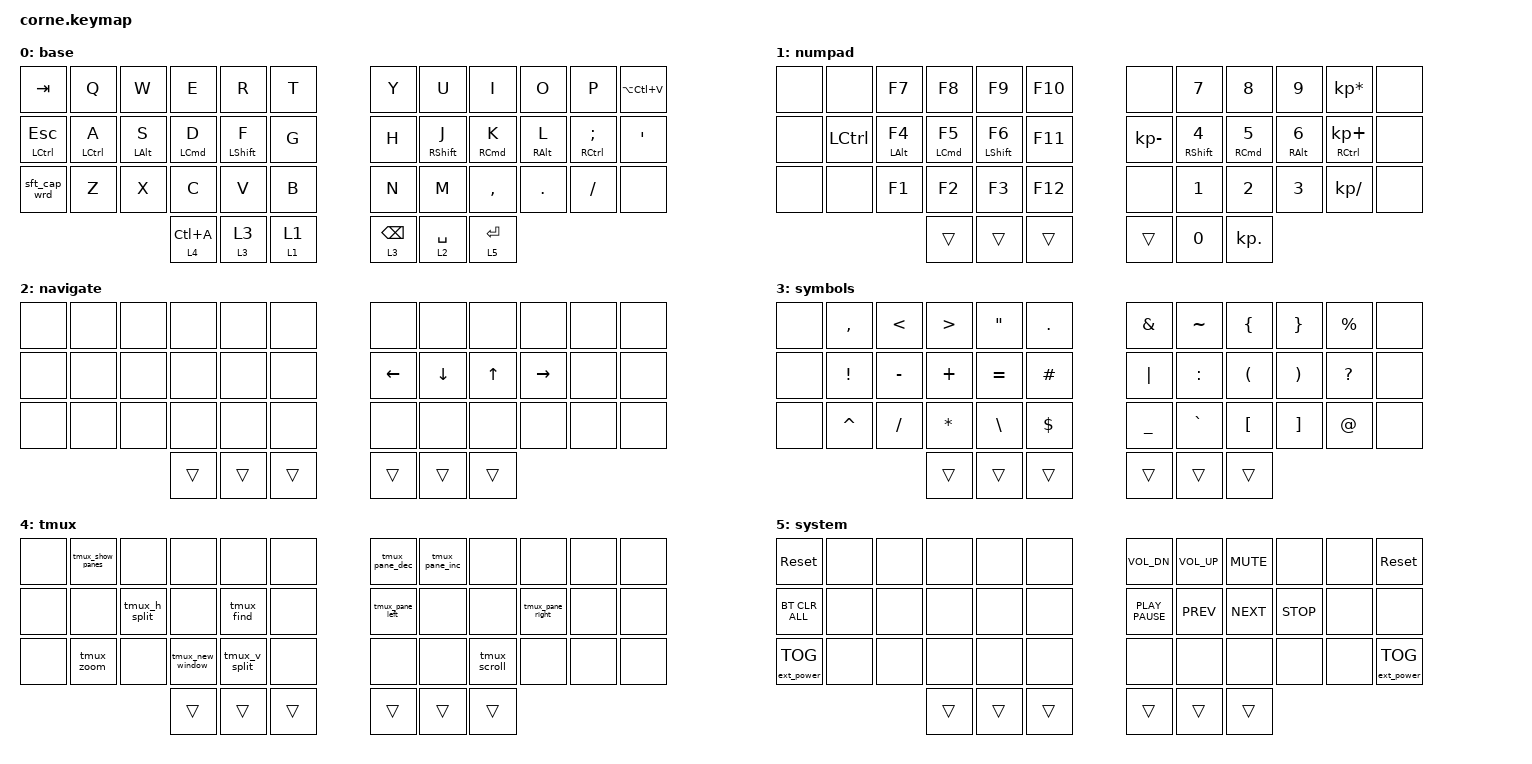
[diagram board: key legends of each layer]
#include <behaviors.dtsi>
#include <dt-bindings/zmk/bt.h>
#include <dt-bindings/zmk/ext_power.h>
#include <dt-bindings/zmk/keys.h>

&sk { /delete-property/ ignore-modifiers; };

&sl { release-after-ms = <200>; };

&caps_word { continue-list = <UNDERSCORE MINUS BACKSPACE DELETE>; };

/ {
    combos {
        compatible = "zmk,combos";

        caps_word {
            key-positions = <17 18>;
            bindings = <&caps_word>;
        };

        homerow {
            bindings = <&kp LS(LG(SPACE))>;
            key-positions = <38 39>;
        };

        warpd {
            bindings = <&kp LS(LA(LG(X)))>;
            key-positions = <37 40>;
        };

        wispr {
            bindings = <&wispr_record>;
            key-positions = <36 41>;
        };
    };

    macros {
        tmux_show_panes: TMUX_SHOW_PANES {
            compatible = "zmk,behavior-macro";
            #binding-cells = <0>;
            bindings = <&tmux_leader &kp Q>;
            label = "TMUX_SHOW_PANES";
        };

        tmux_h_split: TMUX_H_SPLIT {
            compatible = "zmk,behavior-macro";
            #binding-cells = <0>;
            bindings = <&tmux_leader &kp S>;
            label = "TMUX_H_SPLIT";
        };

        tmux_v_split: TMUX_V_SPLIT {
            compatible = "zmk,behavior-macro";
            #binding-cells = <0>;
            bindings = <&tmux_leader &kp V>;
            label = "TMUX_V_SPLIT";
        };

        tmux_new_window: tmux_new_window {
            compatible = "zmk,behavior-macro";
            #binding-cells = <0>;
            bindings = <&tmux_leader &kp C>;
            label = "TMUX_NEW_WINDOW";
        };

        tmux_leader: tmux_leader {
            compatible = "zmk,behavior-macro";
            #binding-cells = <0>;
            bindings = <&kp LC(A)>;
            label = "TMUX_LEADER";
        };

        tmux_zoom: tmux_zoom {
            compatible = "zmk,behavior-macro";
            #binding-cells = <0>;
            bindings = <&tmux_leader &kp Z>;
            label = "TMUX_ZOOM";
        };

        tmux_find: tmux_find {
            compatible = "zmk,behavior-macro";
            #binding-cells = <0>;
            bindings = <&tmux_leader &kp LS(F)>;
            label = "TMUX_FIND";
        };

        tmux_pane_dec: tmux_pane_dec {
            compatible = "zmk,behavior-macro";
            #binding-cells = <0>;
            bindings = <&tmux_leader &kp MINUS>;
            label = "TMUX_PANE_DEC";
        };

        tmux_pane_inc: tmux_pane_inc {
            compatible = "zmk,behavior-macro";
            #binding-cells = <0>;
            bindings = <&tmux_leader &kp EQUAL>;
            label = "TMUX_PANE_INC";
        };

        tmux_pane_left: tmux_pane_left {
            compatible = "zmk,behavior-macro";
            #binding-cells = <0>;
            bindings = <&tmux_leader &kp LC(H)>;
            label = "TMUX_PANE_LEFT";
        };

        tmux_pane_right: tmux_pane_right {
            compatible = "zmk,behavior-macro";
            #binding-cells = <0>;
            bindings = <&tmux_leader &kp LC(L)>;
            label = "TMUX_PANE_RIGHT";
        };

        tmux_scroll: tmux_scroll {
            compatible = "zmk,behavior-macro";
            #binding-cells = <0>;
            bindings = <&tmux_leader &kp LEFT_BRACKET>;
            label = "TMUX_SCROLL";
        };

        wispr_record: wispr_record {
            compatible = "zmk,behavior-macro";
            #binding-cells = <0>;
            bindings = <&kp LC(LA(V))>;
            label = "WISPR_RECORD";
        };

        wispr_record_toggle: wispr_record_toggle {
            compatible = "zmk,behavior-macro";
            #binding-cells = <0>;
            bindings = <&wispr_record &wispr_record>;
            label = "WISPR_RECORD_TOGGLE";
        };
    };

    behaviors {
        hml: homewrow_mods_left {
            compatible = "zmk,behavior-hold-tap";
            #binding-cells = <2>;
            label = "HOMEROW_MODS_LEFT_HAND";
            bindings = <&kp>, <&kp>;

            tapping-term-ms = <280>;
            hold-trigger-key-positions = <6 7 8 9 10 11 18 19 20 21 22 23 30 31 32 33 34 35 39 40 41>;
            quick-tap-ms = <175>;
            require-prior-idle-ms = <150>;
            flavor = "balanced";
            hold-trigger-on-release;
        };

        hmr: homewrow_mods_right {
            compatible = "zmk,behavior-hold-tap";
            #binding-cells = <2>;
            label = "HOMEROW_MODS_RIGHT_HAND";
            bindings = <&kp>, <&kp>;

            tapping-term-ms = <280>;
            hold-trigger-key-positions = <0 1 2 3 4 5 12 13 14 15 16 17 24 25 26 27 28 29 36 37 38>;
            quick-tap-ms = <175>;
            require-prior-idle-ms = <150>;
            flavor = "balanced";
            hold-trigger-on-release;
        };

        mo_sl: mo_sl {
            compatible = "zmk,behavior-hold-tap";
            label = "MO_SL";
            bindings = <&mo>, <&sl>;

            #binding-cells = <2>;
            tapping-term-ms = <180>;
        };

        sft_cap_wrd: sft_cap_wrd {
            compatible = "zmk,behavior-tap-dance";
            label = "SFT_CAP_WRD";
            #binding-cells = <0>;
            bindings = <&kp LEFT_SHIFT>, <&caps_word>;
        };

        ltr: ltr {
            compatible = "zmk,behavior-hold-tap";
            label = "LTR";
            bindings = <&mo>, <&kp>;

            #binding-cells = <2>;
            quick-tap-ms = <200>;
            tapping-term-ms = <220>;
            flavor = "tap-preferred";
            require-prior-idle-ms = <175>;
        };
    };

    keymap {
        compatible = "zmk,keymap";

        base {
            bindings = <
&kp TAB           &kp Q                &kp W            &kp E                &kp R              &kp T         &kp Y             &kp U               &kp I                 &kp O             &kp P                    &kp LA(LC(V))
&mt LCTRL ESCAPE  &hml LEFT_CONTROL A  &hml LEFT_ALT S  &hml LEFT_COMMAND D  &hml LEFT_SHIFT F  &kp G         &kp H             &hmr RIGHT_SHIFT J  &hmr RIGHT_COMMAND K  &hmr RIGHT_ALT L  &hmr RIGHT_CONTROL SEMI  &kp APOS
&sft_cap_wrd      &kp Z                &kp X            &kp C                &kp V              &kp B         &kp N             &kp M               &kp COMMA             &kp DOT           &kp FSLH                 &none
                                                        &lt 4 LC(A)          &mo_sl 3 3         &mo_sl 1 1    &ltr 3 BACKSPACE  &ltr 2 SPACE        &ltr 5 ENTER
            >;
        };

        numpad {
            bindings = <
&none  &none             &kp F7            &kp F8                &kp F9              &kp F10    &none            &kp N7                     &kp N8                       &kp N9                   &kp KP_MULTIPLY             &none
&none  &kp LEFT_CONTROL  &hml LEFT_ALT F4  &hml LEFT_COMMAND F5  &hml LEFT_SHIFT F6  &kp F11    &kp KP_SUBTRACT  &hmr RIGHT_SHIFT NUMBER_4  &hmr RIGHT_COMMAND NUMBER_5  &hmr RIGHT_ALT NUMBER_6  &hmr RIGHT_CONTROL KP_PLUS  &none
&none  &none             &kp F1            &kp F2                &kp F3              &kp F12    &none            &kp NUMBER_1               &kp NUMBER_2                 &kp NUMBER_3             &kp KP_DIVIDE               &none
                                           &trans                &trans              &trans     &trans           &kp N0                     &kp KP_DOT
            >;
        };

        navigate {
            bindings = <
&none  &none  &none  &none   &none   &none     &none     &none     &none   &none      &none  &none
&none  &none  &none  &none   &none   &none     &kp LEFT  &kp DOWN  &kp UP  &kp RIGHT  &none  &none
&none  &none  &none  &none   &none   &none     &none     &none     &none   &none      &none  &none
                     &trans  &trans  &trans    &trans    &trans    &trans
            >;
        };

        symbols {
            bindings = <
&none  &kp COMMA        &kp LESS_THAN  &kp GREATER_THAN  &kp DOUBLE_QUOTES  &kp PERIOD    &kp AMPS   &kp TILDE  &kp LEFT_BRACE        &kp RIGHT_BRACE        &kp PERCENT   &none
&none  &kp EXCLAMATION  &kp MINUS      &kp PLUS          &kp EQUAL          &kp HASH      &kp PIPE   &kp COLON  &kp LEFT_PARENTHESIS  &kp RIGHT_PARENTHESIS  &kp QUESTION  &none
&none  &kp CARET        &kp SLASH      &kp ASTERISK      &kp BACKSLASH      &kp DOLLAR    &kp UNDER  &kp GRAVE  &kp LEFT_BRACKET      &kp RIGHT_BRACKET      &kp AT        &none
                                       &trans            &trans             &trans        &trans     &trans     &trans
            >;
        };

        tmux {
            bindings = <
&none  &tmux_show_panes  &none          &none             &none          &none     &tmux_pane_dec   &tmux_pane_inc  &none         &none             &none  &none
&none  &none             &tmux_h_split  &none             &tmux_find     &none     &tmux_pane_left  &none           &none         &tmux_pane_right  &none  &none
&none  &tmux_zoom        &none          &tmux_new_window  &tmux_v_split  &none     &none            &none           &tmux_scroll  &none             &none  &none
                                        &trans            &trans         &trans    &trans           &trans          &trans
            >;
        };

        system {
            bindings = <
&sys_reset         &none  &none  &none   &none   &none     &kp C_VOL_DN      &kp C_VOL_UP  &kp K_MUTE  &none       &none  &sys_reset
&bt BT_CLR_ALL     &none  &none  &none   &none   &none     &kp K_PLAY_PAUSE  &kp K_PREV    &kp C_NEXT  &kp C_STOP  &none  &none
&ext_power EP_TOG  &none  &none  &none   &none   &none     &none             &none         &none       &none       &none  &ext_power EP_TOG
                                 &trans  &trans  &trans    &trans            &trans        &trans
            >;
        };
    };
};
